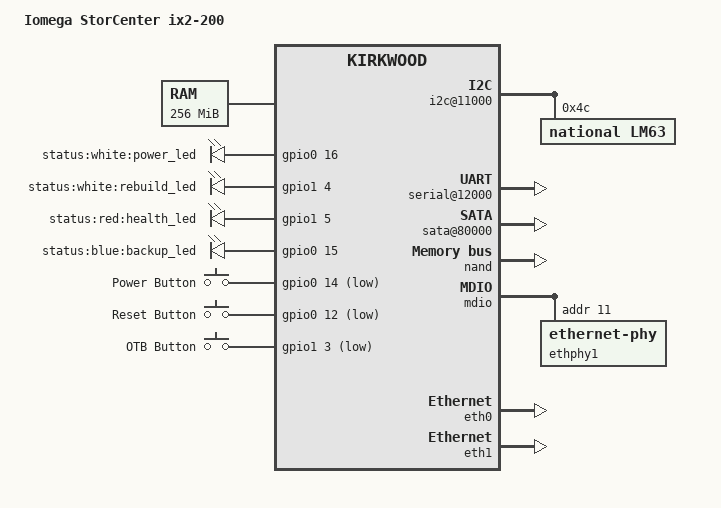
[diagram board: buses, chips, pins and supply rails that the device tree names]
/dts-v1/;

#include "kirkwood.dtsi"
#include "kirkwood-6281.dtsi"

/ {
	model = "Iomega StorCenter ix2-200";
	compatible = "iom,ix2-200", "marvell,kirkwood-88f6281", "marvell,kirkwood";

	memory {
		device_type = "memory";
		reg = <0x00000000 0x10000000>;
	};

	chosen {
		bootargs = "console=ttyS0,115200n8 earlyprintk";
	};

	ocp@f1000000 {
		pinctrl: pinctrl@10000 {
			pinctrl-0 = < &pmx_led_sata_brt_ctrl_1
				      &pmx_led_sata_brt_ctrl_2
				      &pmx_led_backup_brt_ctrl_1
				      &pmx_led_backup_brt_ctrl_2
				      &pmx_led_power_brt_ctrl_1
				      &pmx_led_power_brt_ctrl_2
				      &pmx_led_health_brt_ctrl_1
				      &pmx_led_health_brt_ctrl_2
				      &pmx_led_rebuild_brt_ctrl_1
				      &pmx_led_rebuild_brt_ctrl_2 >;
			pinctrl-names = "default";

			pmx_button_reset: pmx-button-reset {
				marvell,pins = "mpp12";
				marvell,function = "gpio";
			};
			pmx_button_power: pmx-button-power {
				marvell,pins = "mpp14";
				marvell,function = "gpio";
			};
			pmx_led_backup: pmx-led-backup {
				marvell,pins = "mpp15";
				marvell,function = "gpio";
			};
			pmx_led_power: pmx-led-power {
				marvell,pins = "mpp16";
				marvell,function = "gpio";
			};
			pmx_button_otb: pmx-button-otb {
				marvell,pins = "mpp35";
				marvell,function = "gpio";
			};
			pmx_led_rebuild: pmx-led-rebuild {
				marvell,pins = "mpp36";
				marvell,function = "gpio";
			};
			pmx_led_health: pmx-led_health {
				marvell,pins = "mpp37";
				marvell,function = "gpio";
			};
			pmx_led_sata_brt_ctrl_1: pmx-led-sata-brt-ctrl-1 {
				marvell,pins = "mpp38";
				marvell,function = "gpio";
			};
			pmx_led_sata_brt_ctrl_2: pmx-led-sata-brt-ctrl-2 {
				marvell,pins = "mpp39";
				marvell,function = "gpio";
			};
			pmx_led_backup_brt_ctrl_1: pmx-led-backup-brt-ctrl-1 {
				marvell,pins = "mpp40";
				marvell,function = "gpio";
			};
			pmx_led_backup_brt_ctrl_2: pmx-led-backup-brt-ctrl-2 {
				marvell,pins = "mpp41";
				marvell,function = "gpio";
			};
			pmx_led_power_brt_ctrl_1: pmx-led-power-brt-ctrl-1 {
				marvell,pins = "mpp42";
				marvell,function = "gpio";
			};
			pmx_led_power_brt_ctrl_2: pmx-led-power-brt-ctrl-2 {
				marvell,pins = "mpp43";
				marvell,function = "gpio";
			};
			pmx_led_health_brt_ctrl_1: pmx-led-health-brt-ctrl-1 {
				marvell,pins = "mpp44";
				marvell,function = "gpio";
			};
			pmx_led_health_brt_ctrl_2: pmx-led-health-brt-ctrl-2 {
				marvell,pins = "mpp45";
				marvell,function = "gpio";
			};
			pmx_led_rebuild_brt_ctrl_1: pmx-led-rebuild-brt-ctrl-1 {
				marvell,pins = "mpp46";
				marvell,function = "gpio";
			};
			pmx_led_rebuild_brt_ctrl_2: pmx-led-rebuild-brt-ctrl-2 {
				marvell,pins = "mpp47";
				marvell,function = "gpio";
			};

		};
		i2c@11000 {
			status = "okay";

			lm63: lm63@4c {
				compatible = "national,lm63";
				reg = <0x4c>;
			};
		};

		serial@12000 {
			status = "ok";
		};

		sata@80000 {
			status = "okay";
			nr-ports = <2>;
		};

	};
	gpio-leds {
		compatible = "gpio-leds";
		pinctrl-0 = < &pmx_led_backup &pmx_led_power
			      &pmx_led_rebuild &pmx_led_health >;
		pinctrl-names = "default";

		power_led {
			label = "status:white:power_led";
			gpios = <&gpio0 16 GPIO_ACTIVE_HIGH>;
			default-state = "keep";
		};
		rebuild_led {
			label = "status:white:rebuild_led";
			gpios = <&gpio1 4 GPIO_ACTIVE_HIGH>;
		};
		health_led {
			label = "status:red:health_led";
			gpios = <&gpio1 5 GPIO_ACTIVE_HIGH>;
		};
		backup_led {
			label = "status:blue:backup_led";
			gpios = <&gpio0 15 GPIO_ACTIVE_HIGH>;
		};
	};
	gpio-keys {
		compatible = "gpio-keys";
		#address-cells = <1>;
		#size-cells = <0>;
		pinctrl-0 = <&pmx_button_reset &pmx_button_power
			     &pmx_button_otb>;
		pinctrl-names = "default";


		Power {
			label = "Power Button";
			linux,code = <KEY_POWER>;
			gpios = <&gpio0 14 GPIO_ACTIVE_LOW>;
		};
		Reset {
			label = "Reset Button";
			linux,code = <KEY_RESTART>;
			gpios = <&gpio0 12 GPIO_ACTIVE_LOW>;
		};
		OTB {
			label = "OTB Button";
			linux,code = <KEY_COPY>;
			gpios = <&gpio1 3 GPIO_ACTIVE_LOW>;
		};
	};
};

&nand {
	status = "okay";

	partition@0 {
		label = "u-boot";
		reg = <0x0000000 0x100000>;
		read-only;
	};

	partition@a0000 {
		label = "env";
		reg = <0xa0000 0x20000>;
		read-only;
	};

	partition@100000 {
		label = "uImage";
		reg = <0x100000 0x300000>;
	};

	partition@400000 {
		label = "uInitrd";
		reg = <0x540000 0x1000000>;
	};
};

&mdio {
	status = "okay";

	ethphy1: ethernet-phy@11 {
		device_type = "ethernet-phy";
		reg = <11>;
	};
};

&eth0 {
	status = "okay";
	ethernet0-port@0 {
		speed = <1000>;
		duplex = <1>;
	};
};

&eth1 {
	status = "okay";
	ethernet1-port@0 {
		phy-handle = <&ethphy1>;
	};
};
